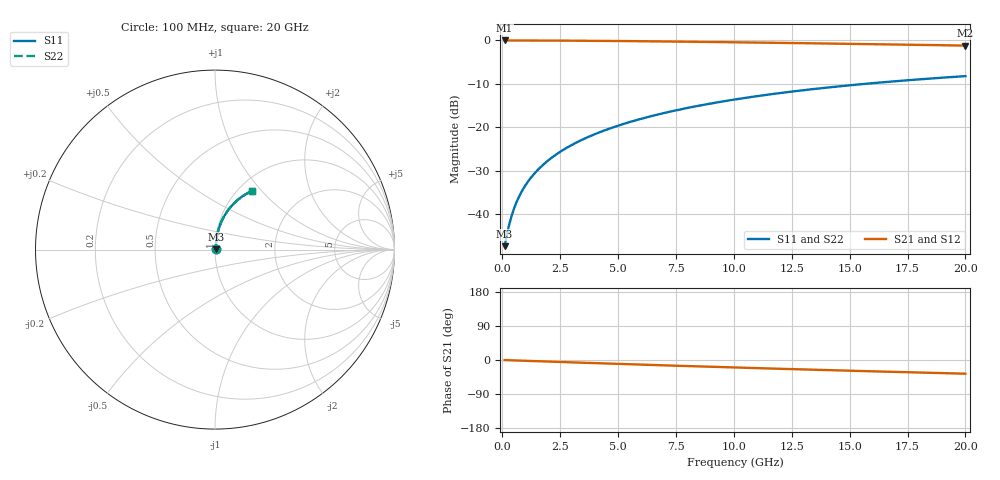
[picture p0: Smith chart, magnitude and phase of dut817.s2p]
! Touchstone file exported from HFSS 2024.1.0
!  File:  C:/UserFiles/LocalFiles/RDL_TSV_Batchsim/temp_RDL_bottom_817_1779862620.aedt
!  Generated:  02:19:49 PM May 27, 2026
!  Design:  RDL_bottom
!  Project:  temp_RDL_bottom_817_1779862620
!  Setup:  Setup1
!  Solution:  Sweep
! Variables:
!  dtsv = 10.80580581um
!  hbump = 3um
!  htsv = 73.61um
!  ldown = 477.62um
!  lrdl = 100um
!  p = 40
!  p1 = 45.4um
!  rhole = 1um
!  t = 450um
!  tdown = 3.1um
!  trdl = 3.915915916um
!  wdown = 15.67um
!  wrdl = 20um
# GHz S MA R 50.000000
! Terminal data exported
! Port[1] = RDL1_T1
! Port[2] = RDL1_T2
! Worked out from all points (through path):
!   200 points, 100 MHz to 20 GHz, reference 50 ohm
!   highest |S21| = -0.03 dB at 100 MHz (marker M1); lowest = -1.2 dB at 20 GHz (marker M2)
!   group delay of S21, straight-line fit = 5.01 ps
!   lowest |S11| = -47.4 dB at 100 MHz (marker M3), VSWR 1.01, Z = 50.4 + j0.221 ohm
!   |S11| at or under -10 dB: start of sweep to 15.73 GHz
!   |S22| runs from -47.4 to -8.3 dB; largest |S21 - S12| = 4.3e-15
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0.1  0.004248 31.1  0.9964 -0.2  0.9964 -0.2  0.004248 31.1
! Gamma 0 0 0 0
! Port Impedance 50 0 50 0
0.2  0.005734 49.5  0.9963 -0.4  0.9963 -0.4  0.005734 49.5
0.3  0.007542 59.4  0.9961 -0.6  0.9961 -0.6  0.007542 59.4
0.4  0.009459 65.2  0.996 -0.9  0.996 -0.9  0.009459 65.2
0.5  0.01141 69.0  0.9959 -1.1  0.9959 -1.1  0.01141 69.0
0.6  0.01339 71.6  0.9957 -1.3  0.9957 -1.3  0.01339 71.6
0.8  0.01736 75.1  0.9954 -1.7  0.9954 -1.7  0.01736 75.1
1.1  0.02337 78.0  0.995 -2.3  0.995 -2.3  0.02337 78.0
1.3  0.02741 79.2  0.9947 -2.7  0.9947 -2.7  0.02741 79.2
1.6  0.0335 80.4  0.9941 -3.3  0.9941 -3.3  0.0335 80.4
2.1  0.04372 81.4  0.993 -4.4  0.993 -4.4  0.04372 81.4
2.7  0.05606 81.9  0.9913 -5.6  0.9913 -5.6  0.05606 81.9
3.5  0.07262 81.7  0.9885 -7.2  0.9885 -7.2  0.07262 81.7
4.2  0.08717 81.3  0.9856 -8.7  0.9856 -8.7  0.08717 81.3
5  0.1039 80.5  0.9818 -10.2  0.9818 -10.2  0.1039 80.5
5.9  0.1227 79.5  0.977 -12.0  0.977 -12.0  0.1227 79.5
6.8  0.1414 78.3  0.9716 -13.7  0.9716 -13.7  0.1414 78.3
8.4  0.1746 76.0  0.9612 -16.8  0.9612 -16.8  0.1746 76.0
10.1  0.2093 73.4  0.9492 -19.9  0.9492 -19.9  0.2093 73.4
13.4  0.2737 68.1  0.9238 -25.6  0.9238 -25.6  0.2737 68.1
16.7  0.3331 62.8  0.897 -31.0  0.897 -31.0  0.3331 62.8
20  0.3867 57.7  0.8695 -36.1  0.8695 -36.1  0.3867 57.7
